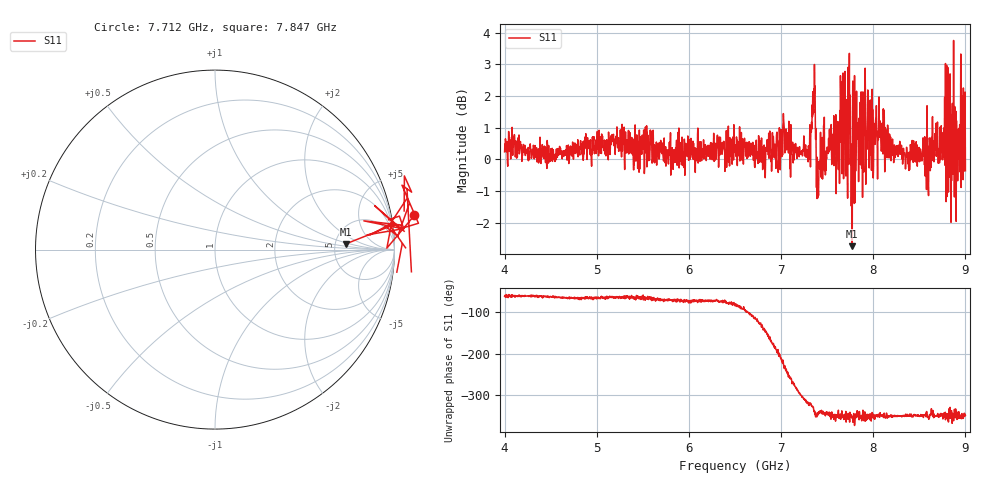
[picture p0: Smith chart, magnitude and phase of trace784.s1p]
! Created with skrf 1.8.0 (http://scikit-rf.org).
# Hz S RI R 50.0
!freq ReS11 ImS11
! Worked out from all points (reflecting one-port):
!   1601 points, 4 GHz to 9 GHz, reference 50 ohm
!   lowest |S11| = -2.7 dB at 7.772 GHz (marker M1), VSWR 6.41, Z = 314 + j42.9 ohm
!   phase of S11 starts at -60 deg and turns -290 deg over the sweep
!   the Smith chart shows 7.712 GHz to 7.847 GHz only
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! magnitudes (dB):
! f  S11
! 4 GHz  0.2
! 4.625 GHz  0.0
! 5.25 GHz  0.4
! 5.875 GHz  -0.1
! 6.5 GHz  0.3
! 6.806 GHz  0.3
! 6.991 GHz  -0.3
! 7.022 GHz  1.2
! 7.125 GHz  0.5
! 7.294 GHz  -0.1
! 7.347 GHz  1.4
! 7.409 GHz  -0.6
! 7.444 GHz  -0.6
! 7.588 GHz  0.7
! 7.669 GHz  2.1
! 7.697 GHz  0.7
! 7.716 GHz  -0.4
! 7.75 GHz  2.0
! 7.772 GHz  -2.7
! 7.962 GHz  1.8
! 7.981 GHz  -0.3
! 8.088 GHz  0.3
! 8.375 GHz  0.0
! 8.581 GHz  0.2
! 8.759 GHz  0.9
! 8.919 GHz  0.0
! 8.953 GHz  -0.9
! 9 GHz  -0.4
